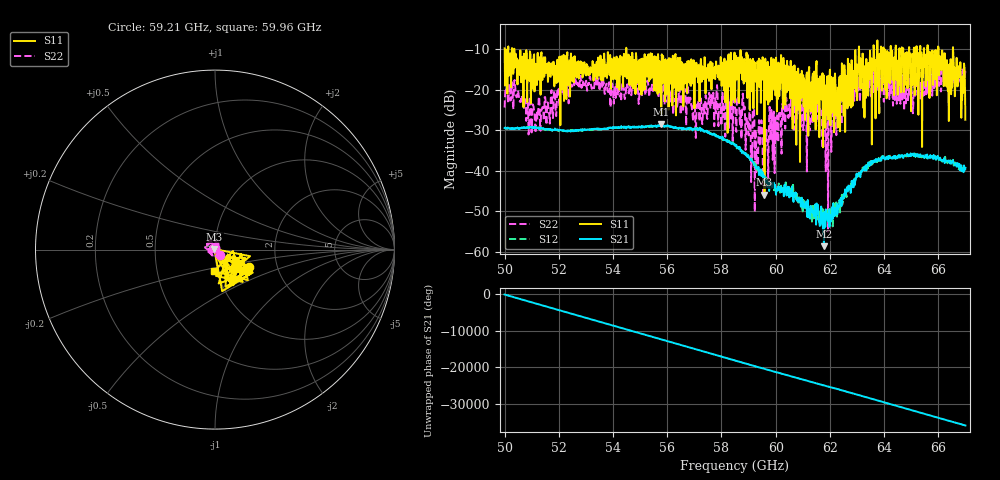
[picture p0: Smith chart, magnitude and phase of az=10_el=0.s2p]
!Created with skrf (http://scikit-rf.org).
# GHz S RI R 50.0
!freq ReS11 ImS11 ReS21 ImS21 ReS12 ImS12 ReS22 ImS22
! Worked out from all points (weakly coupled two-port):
!   1001 points, 50 GHz to 67 GHz, reference 50 ohm
!   highest |S21| = -28.61 dB at 55.78 GHz (marker M1); lowest = -58.6 dB at 61.78 GHz (marker M2)
!   lowest |S11| = -45.9 dB at 59.59 GHz (marker M3), VSWR 1.01, Z = 49.6 + j0.333 ohm
!   |S11| at or under -10 dB: 50.36 GHz to 54.49 GHz (4.13 GHz wide, 7.88 % of centre); 54.49 GHz to 63.07 GHz (8.582 GHz wide, 14.6 % of centre); 63.08 GHz to 63.61 GHz (537.4 MHz wide, 0.848 % of centre) (the widest 3 of 23)
!   |S22| runs from -55.0 to -14.0 dB; largest |S21 - S12| = 0.0023
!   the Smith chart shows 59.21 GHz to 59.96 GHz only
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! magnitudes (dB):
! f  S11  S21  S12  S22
! 50 GHz  -9.8  -29.5  -29.4  -24.4
! 50.42 GHz  -13.8  -29.6  -29.6  -21.7
! 51.07 GHz  -12.0  -29.2  -29.3  -24.3
! 52.84 GHz  -14.1  -30.0  -29.8  -19.6
! 55.68 GHz  -13.2  -29.0  -29.0  -22.0
! 55.78 GHz  -26.1  -28.6  -28.9  -19.8
! 56.99 GHz  -14.7  -29.8  -29.7  -21.8
! 58.5 GHz  -23.1  -33.9  -33.5  -24.4
! 59.13 GHz  -15.5  -37.7  -37.4  -36.8
! 59.3 GHz  -15.2  -39.2  -39.7  -37.1
! 59.42 GHz  -13.7  -40.6  -40.1  -34.0
! 59.59 GHz  -45.9  -41.4  -41.9  -30.9
! 60.64 GHz  -14.3  -47.0  -43.5  -21.9
! 61.34 GHz  -25.0  -49.2  -52.6  -25.5
! 61.78 GHz  -16.5  -58.6  -51.7  -21.9
! 62 GHz  -15.1  -51.2  -49.6  -25.1
! 62.61 GHz  -20.4  -45.0  -46.6  -20.4
! 64.18 GHz  -18.1  -37.0  -36.6  -18.5
! 66.08 GHz  -15.0  -37.2  -37.2  -15.6
! 66.42 GHz  -15.5  -38.2  -38.0  -16.3
! 66.75 GHz  -17.1  -39.1  -39.9  -18.2
! 67 GHz  -27.4  -39.3  -39.9  -15.5
